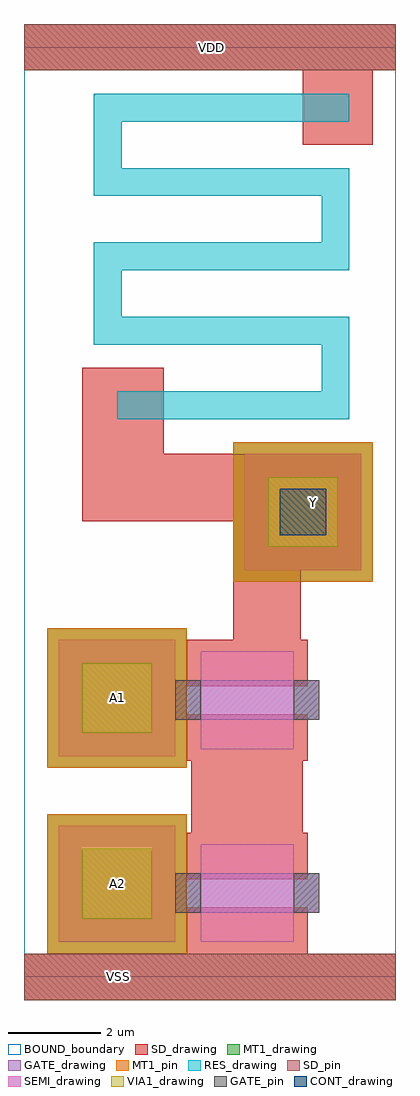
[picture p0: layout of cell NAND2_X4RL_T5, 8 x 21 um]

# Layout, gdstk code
from math import pi, radians
import gdstk
lib = gdstk.Library(unit=1e-6, precision=1e-09)
def R(c, l, rs):  # rectangles x0, y0, x1, y1
    for r in rs: c.add(gdstk.rectangle(r[:2], r[2:], *l))
def A(c, l, x, y, w, h, nx, ny, dx, dy):  # array of equal rectangles
    R(c, l, [(x+i*dx, y+j*dy, x+i*dx+w, y+j*dy+h) for i in range(nx) for j in range(ny)])
def P(c, l, *ps):  # polygons
    for p in ps: c.add(gdstk.Polygon(p, *l))
RES_drawing = (1, 0)
SEMI_drawing = (3, 0)
SD_drawing = (10, 0)
SD_pin = (10, 3)
GATE_drawing = (11, 0)
GATE_pin = (11, 3)
MT1_drawing = (20, 0)
MT1_pin = (20, 3)
CONT_drawing = (30, 0)
VIA1_drawing = (41, 0)
BOUND_boundary = (150, 5)

nch_cdns_772545011010 = lib.new_cell('nch_CDNS_772545011010')
R(nch_cdns_772545011010, SEMI_drawing, [(-1.05,-1,1.05,1)])
R(nch_cdns_772545011010, SD_drawing, [(-1.3,-1.3,-0.3,1.3), (0.3,-1.3,1.3,1.3)])
R(nch_cdns_772545011010, GATE_drawing, [(-0.425,-1.55,0.425,1.55)])
R(nch_cdns_772545011010, GATE_pin, [(-0.425,-1.55,0.425,-1), (-0.425,1,0.425,1.55)])

gate_mt1_cdns_7725450110 = lib.new_cell('GATE_MT1_CDNS_772545011010')
R(gate_mt1_cdns_7725450110, GATE_drawing, [(-1.25,-1.25,1.25,1.25)])
R(gate_mt1_cdns_7725450110, MT1_drawing, [(-1.25,-1.25,1.25,1.25)])
R(gate_mt1_cdns_7725450110, VIA1_drawing, [(-0.75,-0.75,0.75,0.75)])

sd_gate_cdns_77254501101 = lib.new_cell('SD_GATE_CDNS_772545011011')
R(sd_gate_cdns_77254501101, SD_drawing, [(-1.25,-1.25,1.25,1.25)])
R(sd_gate_cdns_77254501101, GATE_drawing, [(-1.25,-1.25,1.25,1.25)])
R(sd_gate_cdns_77254501101, CONT_drawing, [(-0.5,-0.5,0.5,0.5)])

nand2_x4rl_t5 = lib.new_cell('NAND2_X4RL_T5')
A(nand2_x4rl_t5, RES_drawing, 1.5, 13.6, 5.5, 0.6, 1, 3, 0, 1.6)
R(nand2_x4rl_t5, RES_drawing, [(2,12,4,12.6), (4,12,7,12.6), (6.4,12.6,7,13.6), (1.5,14.2,2.1,15.2), (6.4,15.8,7,16.8), (1.5,17.4,2.1,18.4), (1.5,18.4,5,19), (5,18.4,7,19)])
R(nand2_x4rl_t5, SD_drawing, [(0,-0.5,8,0.5), (3.6,3.1,6,4.65), (1.25,11.25,3,13.1), (6,17.9,7.5,19.5), (0,19.5,8,20.5)])
P(nand2_x4rl_t5, SD_drawing, [(5.95,11.25),(1.25,11.25),(1.25,9.8),(4.5,9.8),(4.5,7.25),(5.95,7.25)])
R(nand2_x4rl_t5, SD_pin, [(0,-0.5,8,0.5), (0,19.5,8,20.5)])
P(nand2_x4rl_t5, GATE_drawing, [(3.15,6.475),(3.15,5.475),(3.25,5.475),(3.25,5.575),(3.3,5.575),(3.3,6.325),(3.25,6.325),(3.25,6.475)],
  [(3.15,2.325),(3.15,1.325),(3.25,1.325),(3.25,1.425),(3.3,1.425),(3.3,2.175),(3.25,2.175),(3.25,2.325)])
R(nand2_x4rl_t5, MT1_drawing, [(0.5,0.5,3.5,3.5), (0.5,4.5,3.5,7.5), (4.5,8.5,7.5,11.5)])
R(nand2_x4rl_t5, MT1_pin, [(0.5,0.5,3.5,3.5), (0.5,4.5,3.5,7.5), (4.5,8.5,7.5,11.5)])
R(nand2_x4rl_t5, BOUND_boundary, [(0,0,8,20)])
nand2_x4rl_t5.add(gdstk.Reference(nch_cdns_772545011010, (4.8,1.8), rotation=pi/2))
nand2_x4rl_t5.add(gdstk.Reference(nch_cdns_772545011010, (4.8,5.95), rotation=pi/2))
nand2_x4rl_t5.add(gdstk.Reference(gate_mt1_cdns_7725450110, (2,6)))
nand2_x4rl_t5.add(gdstk.Reference(gate_mt1_cdns_7725450110, (6,10)))
nand2_x4rl_t5.add(gdstk.Reference(gate_mt1_cdns_7725450110, (2,2)))
nand2_x4rl_t5.add(gdstk.Reference(sd_gate_cdns_77254501101, (6,10)))
nand2_x4rl_t5.add(gdstk.Label('VDD', (4.025,20), layer=10, texttype=3))
nand2_x4rl_t5.add(gdstk.Label('VSS', (2.025,0), layer=10, texttype=3))
nand2_x4rl_t5.add(gdstk.Label('A1', (2,6), layer=20, texttype=3))
nand2_x4rl_t5.add(gdstk.Label('Y', (6.225,10.2), layer=20, texttype=3))
nand2_x4rl_t5.add(gdstk.Label('A2', (2,2), layer=20, texttype=3))

lib.write_gds('NAND2_X4RL_T5.gds')
